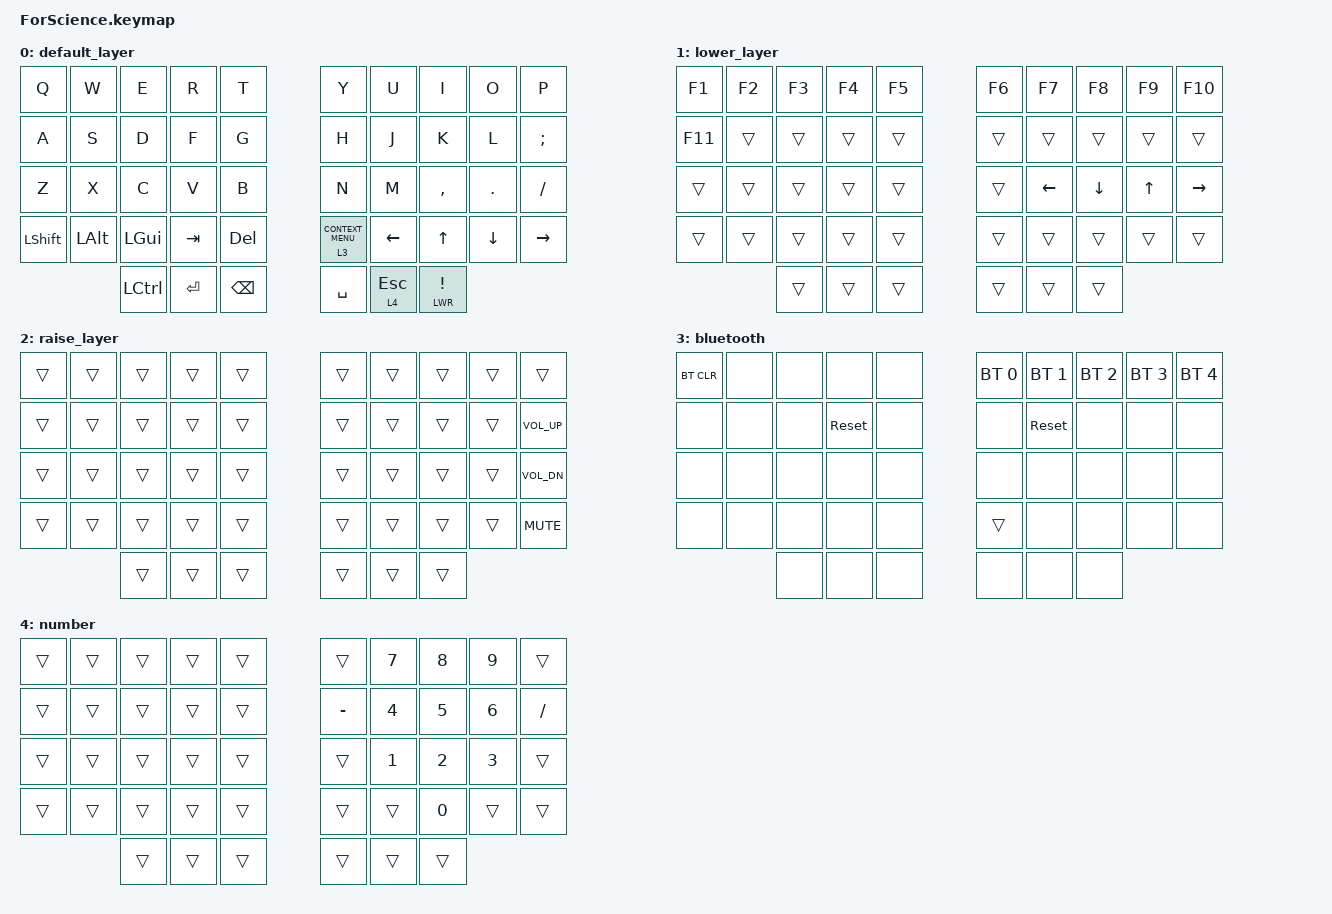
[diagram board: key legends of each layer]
// Copyright (c) 2022 The ZMK Contributors
// SPDX-License-Identifier: MIT

#include <behaviors.dtsi>
#include <dt-bindings/zmk/bt.h>
#include <dt-bindings/zmk/keys.h>
#include <dt-bindings/zmk/outputs.h>
#include <dt-bindings/zmk/pointing.h>
#include <dt-bindings/zmk/mouse.h>

#define ZMK_POINTING_DEFAULT_MOVE_VAL 1100  // default: 600
#define ZMK_POINTING_DEFAULT_SCRL_VAL 15    // default: 10

&msc {
    x-input-code = <INPUT_REL_HWHEEL>;
    y-input-code = <INPUT_REL_WHEEL>;
    time-to-max-speed-ms = <100>;
    acceleration-exponent = <3>;
};

&mmv {
    x-input-code = <INPUT_REL_X>;
    y-input-code = <INPUT_REL_Y>;
    time-to-max-speed-ms = <300>;
    acceleration-exponent = <1>;
};

&lt { tapping-term-ms = <170>; };

/ {
    macros {
        norsk_AO: norsk_AO {
            compatible = "zmk,behavior-macro";
            #binding-cells = <0>;
            bindings =
                <&macro_press>,
                <&kp LEFT_ALT>,
                <&macro_tap>,
                <&kp KP_NUMBER_0 &kp KP_NUMBER_2 &kp KP_NUMBER_2 &kp KP_NUMBER_9>,
                <&macro_release>,
                <&kp LEFT_ALT>;

            label = "NORSK_AO";
        };

        norsk_AO_cap: norsk_AO_cap {
            compatible = "zmk,behavior-macro";
            #binding-cells = <0>;
            bindings =
                <&macro_press>,
                <&kp LEFT_ALT>,
                <&macro_tap>,
                <&kp KP_NUMBER_0 &kp KP_NUMBER_1 &kp KP_NUMBER_9 &kp KP_NUMBER_7>,
                <&macro_release>,
                <&kp LEFT_ALT>;

            label = "NORSK_AO_CAP";
        };

        delete_line: delete_line {
            compatible = "zmk,behavior-macro";
            #binding-cells = <0>;
            bindings = <&kp END &kp LS(HOME) &kp BACKSPACE>;
            label = "DELETE_LINE";
        };

        norsk_AE: norsk_AE {
            compatible = "zmk,behavior-macro";
            #binding-cells = <0>;
            bindings =
                <&macro_press>,
                <&kp LEFT_ALT>,
                <&macro_tap>,
                <&kp KP_NUMBER_0 &kp KP_NUMBER_2 &kp KP_NUMBER_3 &kp KP_NUMBER_0>,
                <&macro_release>,
                <&kp LEFT_ALT>;

            label = "NORSK_AE";
        };

        norsk_AE_CAP: norsk_AE_CAP {
            compatible = "zmk,behavior-macro";
            #binding-cells = <0>;
            bindings =
                <&macro_press>,
                <&kp LEFT_ALT>,
                <&macro_tap>,
                <&kp KP_NUMBER_0 &kp KP_NUMBER_1 &kp KP_NUMBER_9 &kp KP_NUMBER_8>,
                <&macro_release>,
                <&kp LEFT_ALT>;

            label = "NORSK_AE_CAP";
        };

        norsk_OE: norsk_OE {
            compatible = "zmk,behavior-macro";
            #binding-cells = <0>;
            bindings =
                <&macro_press>,
                <&kp LEFT_ALT>,
                <&macro_tap>,
                <&kp KP_NUMBER_0 &kp KP_NUMBER_2 &kp KP_NUMBER_4 &kp KP_NUMBER_8>,
                <&macro_release>,
                <&kp LEFT_ALT>;

            label = "NORSK_OE";
        };

        norsk_OE_CAP: norsk_OE_CAP {
            compatible = "zmk,behavior-macro";
            #binding-cells = <0>;
            bindings =
                <&macro_press>,
                <&kp LEFT_ALT>,
                <&macro_tap>,
                <&kp KP_NUMBER_0 &kp KP_NUMBER_2 &kp KP_NUMBER_1 &kp KP_NUMBER_6>,
                <&macro_release>,
                <&kp LEFT_ALT>;

            label = "NORSK_OE_CAP";
        };

        degree: degree {
            compatible = "zmk,behavior-macro";
            #binding-cells = <0>;
            bindings =
                <&macro_press>,
                <&kp LEFT_ALT>,
                <&macro_tap>,
                <&kp KP_NUMBER_0 &kp KP_NUMBER_1 &kp KP_NUMBER_7 &kp KP_NUMBER_6>,
                <&macro_release>,
                <&kp LEFT_ALT>;

            label = "DEGREE";
        };

        par_mid: par_mid {
            compatible = "zmk,behavior-macro";
            #binding-cells = <0>;
            bindings = <&kp LEFT_PARENTHESIS &kp RIGHT_PARENTHESIS &kp LEFT>;
            label = "PAR_MID";
        };

        brk_mid: brk_mid {
            compatible = "zmk,behavior-macro";
            #binding-cells = <0>;
            bindings = <&kp LEFT_BRACKET &kp RIGHT_BRACKET &kp LEFT>;
            label = "BRK_MID";
        };

        brc_mid: brc_mid {
            compatible = "zmk,behavior-macro";
            #binding-cells = <0>;
            bindings = <&kp LEFT_BRACE &kp RIGHT_BRACE &kp LEFT>;
            label = "BRC_MID";
        };

        email: email {
            compatible = "zmk,behavior-macro";
            #binding-cells = <0>;
            bindings = <&kp I &kp Z &kp W &kp A &kp N &kp DOT &kp P &kp E &kp N &kp G &kp AT &kp G &kp M &kp A &kp I &kp L &kp DOT &kp C &kp O &kp M>;
            label = "EMAIL";
        };

        IKM_ADMIN: IKM_ADMIN {
            compatible = "zmk,behavior-macro";
            #binding-cells = <0>;
            bindings =
                <&macro_tap>,
                <&kp DOT &kp BSLH &kp A &kp D &kp M &kp I &kp N &kp I &kp S &kp T &kp R &kp A &kp T &kp O &kp R &kp TAB>;

            label = "IKM_ADMIN";
        };

        IKM_PC: IKM_PC {
            compatible = "zmk,behavior-macro";
            #binding-cells = <0>;
            bindings =
                <&macro_tap>,
                <&kp RIGHT &kp RIGHT &kp RIGHT &kp RIGHT &kp RIGHT &kp RIGHT &kp RIGHT &kp RIGHT &kp LS(A) &kp D &kp A &kp M &kp A &kp Y &kp A &kp M &kp LEFT_BRACE &kp N2 &kp N1 &kp N2 &kp N2 &kp RBRC &kp EXCL>;

            label = "IKM_PC";
        };

        INS_FIG: INS_FIG {
            compatible = "zmk,behavior-macro";
            #binding-cells = <0>;
            wait-ms = <150>;
            tap-ms = <150>;
            bindings =
                <&kp LC(LA(R))>,
                <&macro_wait_time 200>,
                <&kp F>,
                <&macro_wait_time 50>,
                <&kp I>,
                <&macro_wait_time 50>,
                <&kp G>,
                <&macro_wait_time 50>,
                <&kp TAB>,
                <&macro_wait_time 300>,
                <&kp DOWN>,
                <&macro_wait_time 150>,
                <&kp DOWN_ARROW>,
                <&macro_wait_time 150>,
                <&kp TAB &kp TAB>;

            label = "INS_FIG";
        };

        INS_TAB: INS_TAB {
            compatible = "zmk,behavior-macro";
            #binding-cells = <0>;
            wait-ms = <150>;
            tap-ms = <150>;
            bindings =
                <&kp LC(LA(R))>,
                <&macro_wait_time 200>,
                <&kp T>,
                <&macro_wait_time 50>,
                <&kp A>,
                <&macro_wait_time 50>,
                <&kp B>,
                <&macro_wait_time 50>,
                <&kp TAB>,
                <&macro_wait_time 300>,
                <&kp DOWN>,
                <&macro_wait_time 150>,
                <&kp DOWN_ARROW>,
                <&macro_wait_time 150>,
                <&kp TAB &kp TAB>;

            label = "INS_TAB";
        };

        INS_REF: INS_REF {
            compatible = "zmk,behavior-macro";
            #binding-cells = <0>;
            wait-ms = <150>;
            tap-ms = <150>;
            bindings =
                <&kp LC(LA(R))>,
                <&macro_wait_time 200>,
                <&kp N>,
                <&macro_wait_time 50>,
                <&kp U>,
                <&macro_wait_time 50>,
                <&kp M>,
                <&macro_wait_time 50>,
                <&kp TAB>,
                <&macro_wait_time 300>,
                <&kp DOWN>,
                <&macro_wait_time 150>,
                <&kp DOWN_ARROW>,
                <&macro_wait_time 150>,
                <&kp DOWN_ARROW>,
                <&macro_wait_time 150>,
                <&kp TAB &kp TAB &kp TAB>;

            label = "INS_REF";
        };

        INS_CAP: INS_CAP {
            compatible = "zmk,behavior-macro";
            #binding-cells = <0>;
            bindings = <&kp LEFT_ALT &kp S &kp P>;
            label = "INS_CAP";
            wait-ms = <150>;
        };

        NOR_ID: NOR_ID {
            compatible = "zmk,behavior-macro";
            #binding-cells = <0>;
            bindings = <&none &kp N0 &kp N1 &kp N0 &kp N9 &kp N9 &kp N3 &kp N2 &kp N3 &kp N7 &kp N2 &kp N4>;
            label = "NOR_ID";
        };

        INS_COL: INS_COL {
            compatible = "zmk,behavior-macro";
            #binding-cells = <0>;
            bindings =
                <&none &kp LC(SPACE)>,
                <&macro_wait_time 300>,
                <&kp LC(KP_PLUS)>;

            label = "INS_COL";
        };

        INS_ROW: INS_ROW {
            compatible = "zmk,behavior-macro";
            #binding-cells = <0>;
            bindings =
                <&none &kp LS(SPACE)>,
                <&macro_wait_time 300>,
                <&kp LC(KP_PLUS)>;

            label = "INS_ROW";
        };

        plusminus: plusminus {
            compatible = "zmk,behavior-macro";
            #binding-cells = <0>;
            bindings =
                <&macro_press>,
                <&kp LEFT_ALT>,
                <&macro_tap>,
                <&kp KP_NUMBER_0 &kp KP_NUMBER_1 &kp KP_NUMBER_7 &kp KP_NUMBER_7>,
                <&macro_release>,
                <&kp LEFT_ALT>;

            label = "PLUSMINUS";
        };

        APDL_nodeNumber: APDL_nodeNumber {
            compatible = "zmk,behavior-macro";
            #binding-cells = <0>;
            bindings =
                <&macro_press>,
                <&kp LEFT_ALT>,
                <&macro_tap>,
                <&kp C>,
                <&macro_release>,
                <&kp LEFT_ALT>,
                <&macro_tap>,
                <&kp DOWN &kp DOWN &kp DOWN &kp ENTER &kp TAB &kp TAB &kp TAB &kp TAB &kp SPACE &kp ENTER>;

            label = "APDL_NODENUMBER";
            wait-ms = <200>;
        };

        INS_LINK: INS_LINK {
            compatible = "zmk,behavior-macro";
            #binding-cells = <0>;
            wait-ms = <150>;
            tap-ms = <150>;
            bindings =
                <&kp LEFT_ALT>,
                <&macro_wait_time 200>,
                <&kp N>,
                <&macro_wait_time 50>,
                <&kp I>,
                <&macro_wait_time 50>,
                <&kp I>;

            label = "INS_LINK";
        };

        ACROBAT_accept: ACROBAT_accept {
            compatible = "zmk,behavior-macro";
            #binding-cells = <0>;
            bindings = <&kp F13 &kp DOWN &kp DOWN &kp DOWN &kp RIGHT_ARROW &kp DOWN &kp ENTER>;
            label = "ACROBAT_ACCEPT";
            wait-ms = <200>;
        };

        ACROBAT_complete: ACROBAT_complete {
            compatible = "zmk,behavior-macro";
            #binding-cells = <0>;
            bindings = <&kp F13 &kp DOWN &kp DOWN &kp DOWN &kp RIGHT_ARROW &kp DOWN &kp DOWN_ARROW &kp DOWN &kp ENTER>;
            wait-ms = <200>;
        };

        WIN_new_txt: WIN_new_txt {
            compatible = "zmk,behavior-macro";
            #binding-cells = <0>;
            bindings = <&kp K_APP &kp W &kp T>;
            label = "WIN_NEW_TXT";
            wait-ms = <200>;
        };

        INS_HIGHLIGHT: INS_HIGHLIGHT {
            compatible = "zmk,behavior-macro";
            #binding-cells = <0>;
            wait-ms = <150>;
            tap-ms = <150>;
            bindings =
                <&kp LEFT_ALT>,
                <&macro_wait_time 150>,
                <&kp H>,
                <&macro_wait_time 150>,
                <&kp I>,
                <&macro_wait_time 150>,
                <&kp ENTER>;

            label = "INS_HIGHLIGHT";
        };

        sel_line: sel_line {
            compatible = "zmk,behavior-macro";
            #binding-cells = <0>;
            bindings = <&kp END &kp LS(HOME)>;
            label = "SEL_LINE";
        };

        SHAPR3D: SHAPR3D {
            compatible = "zmk,behavior-macro";
            #binding-cells = <0>;
            bindings =
                <&kp E &kp Z &kp L &kp A &kp N &kp D &kp DOT &kp S &kp H &kp A &kp P &kp R &kp N3 &kp D &kp AT &kp G &kp M &kp A &kp I &kp L &kp DOT &kp C &kp O &kp M &kp TAB &kp LS(L) &kp O &kp G &kp O &kp U &kp T>,
                <&macro_wait_time 100>,
                <&macro_tap>,
                <&kp N2 &kp N0 &kp N2 &kp N3 &kp N2 &kp N0>;

            label = "SHAPR3D";
            wait-ms = <100>;
        };

        define_method: define_method {
            compatible = "zmk,behavior-macro";
            #binding-cells = <0>;
            bindings =
                <&kp D &kp E &kp F &kp SPACE &kp UNDER &kp M &kp E &kp T &kp H &kp O &kp D &kp SPACE &kp LPAR &kp S &kp E &kp L &kp F &kp RPAR &kp COLON &kp RET>,
                <&macro_tap>,
                <&kp DQT &kp DQT &kp DQT &kp RET>,
                <&macro_tap>,
                <&kp D &kp O &kp C &kp S &kp T &kp R &kp I &kp N &kp G &kp RET>,
                <&macro_tap>,
                <&kp DQT &kp DQT &kp DQT &kp RET>,
                <&macro_tap>,
                <&kp R &kp E &kp T &kp U &kp R &kp N &kp SPACE &kp LPAR &kp S &kp E &kp L &kp F &kp RPAR>,
                <&macro_press>,
                <&macro_press>;

            label = "DEFINE_METHOD";
        };

        select_word: select_word {
            compatible = "zmk,behavior-macro";
            #binding-cells = <0>;
            bindings = <&macro_tap>, <&kp LC(RIGHT) &kp LC(LS(LEFT))>;

            label = "SELECT_WORD";
        };

        merge_cell_words: merge_cell_words {
            compatible = "zmk,behavior-macro";
            #binding-cells = <0>;
            bindings =
                <&kp K_APP>,
                <&macro_wait_time 150>,
                <&macro_tap>,
                <&kp M &kp ENTER>;

            label = "MERGE_CELL_WORDS";
        };

        sigma_stress: sigma_stress {
            compatible = "zmk,behavior-macro";
            #binding-cells = <0>;
            bindings =
                <&macro_press>,
                <&kp LEFT_ALT>,
                <&macro_tap>,
                <&kp KP_NUMBER_0 &kp KP_NUMBER_1 &kp KP_NUMBER_1 &kp KP_NUMBER_5>,
                <&macro_release>,
                <&kp LEFT_ALT>;

            label = "SIGMA_STRESS";
        };

        INS_FONTCOLOR: INS_FONTCOLOR {
            compatible = "zmk,behavior-macro";
            #binding-cells = <0>;
            wait-ms = <150>;
            tap-ms = <150>;
            bindings =
                <&kp LEFT_ALT>,
                <&macro_wait_time 150>,
                <&kp H>,
                <&macro_wait_time 150>,
                <&kp F>,
                <&macro_wait_time 150>,
                <&kp C>,
                <&macro_wait_time 150>,
                <&kp DOWN &kp DOWN &kp DOWN &kp LEFT &kp LEFT &kp LEFT &kp LEFT>;

            label = "INS_FONTCOLOR";
        };

        PPT_bring_front: PPT_bring_front {
            compatible = "zmk,behavior-macro";
            #binding-cells = <0>;
            bindings = <&kp K_APP &kp R &kp RIGHT &kp R>;
            label = "PPT_BRING_FRONT";
            wait-ms = <200>;
        };

        EXCEL_resize_column: EXCEL_resize_column {
            compatible = "zmk,behavior-macro";
            #binding-cells = <0>;
            wait-ms = <150>;
            tap-ms = <150>;
            bindings =
                <&kp LEFT_ALT>,
                <&macro_wait_time 150>,
                <&kp H>,
                <&macro_wait_time 150>,
                <&kp O>,
                <&macro_wait_time 150>,
                <&kp I>;

            label = "EXCEL_RESIZE_COLUMN";
        };

        exit_cmd: exit_cmd {
            compatible = "zmk,behavior-macro";
            #binding-cells = <0>;
            bindings =
                <&kp E &kp X &kp I &kp T>,
                <&macro_wait_time 180>,
                <&kp RET>;

            label = "EXIT_CMD";
        };

        NDIST: NDIST {
            compatible = "zmk,behavior-macro";
            #binding-cells = <0>;
            bindings = <&kp N &kp D &kp I &kp S &kp T &kp COMMA>;
            label = "NDIST";
            tap-ms = <50>;
        };

        S7_adobe_accept: S7_adobe_accept {
            compatible = "zmk,behavior-macro";
            #binding-cells = <0>;
            bindings =
                <&mkp MB2>,
                <&macro_wait_time 200>,
                <&kp E>,
                <&macro_wait_time 200>,
                <&kp A>;

            label = "S7_ADOBE_ACCEPT";
        };

        S7_adobe_complete: S7_adobe_complete {
            compatible = "zmk,behavior-macro";
            #binding-cells = <0>;
            bindings =
                <&mkp MB2>,
                <&macro_wait_time 200>,
                <&kp E>,
                <&macro_wait_time 200>,
                <&kp M>;

            label = "S7_ADOBE_COMPLETE";
        };

        EXCEL_trace_dependant: EXCEL_trace_dependant {
            compatible = "zmk,behavior-macro";
            #binding-cells = <0>;
            wait-ms = <150>;
            tap-ms = <150>;
            bindings =
                <&kp LEFT_ALT>,
                <&macro_wait_time 150>,
                <&kp A &kp H>,
                <&macro_wait_time 150>,
                <&kp M>,
                <&macro_wait_time 150>,
                <&kp D>;

            label = "EXCEL_TRACE_DEPENDANT";
        };

        EXCEL_remove_arrow: EXCEL_remove_arrow {
            compatible = "zmk,behavior-macro";
            #binding-cells = <0>;
            wait-ms = <150>;
            tap-ms = <150>;
            bindings =
                <&kp LEFT_ALT>,
                <&macro_wait_time 150>,
                <&kp A &kp H>,
                <&macro_wait_time 150>,
                <&kp M>,
                <&macro_wait_time 150>,
                <&kp A>;

            label = "EXCEL_REMOVE_ARROW";
        };
    };

    behaviors {
        caps_esc: caps_esc {
            compatible = "zmk,behavior-tap-dance";
            label = "CAPS_ESC";
            #binding-cells = <0>;
            bindings = <&kp ESCAPE>, <&kp CAPS>;

            tapping-term-ms = <300>;
        };

        ht_tap: HT_TAP {
            compatible = "zmk,behavior-hold-tap";
            label = "HT_TAP";
            bindings = <&kp>, <&kp>;

            #binding-cells = <2>;
            tapping-term-ms = <160>;
            flavor = "hold-preferred";
        };

        AO: AO {
            compatible = "zmk,behavior-tap-dance";
            label = "AO";
            #binding-cells = <0>;
            bindings = <&norsk_AO>, <&norsk_AO_cap>;

            tapping-term-ms = <300>;
        };

        QUOT_DQUO: QUOT_DQUO {
            compatible = "zmk,behavior-tap-dance";
            label = "QUOT_DQUO";
            #binding-cells = <0>;
            bindings = <&kp SINGLE_QUOTE>, <&kp DOUBLE_QUOTES>;

            tapping-term-ms = <300>;
        };

        AE: AE {
            compatible = "zmk,behavior-tap-dance";
            label = "AE";
            #binding-cells = <0>;
            bindings = <&norsk_AE>, <&norsk_AE_CAP>;

            tapping-term-ms = <300>;
        };

        OE: OE {
            compatible = "zmk,behavior-tap-dance";
            label = "OE";
            #binding-cells = <0>;
            bindings = <&norsk_OE>, <&norsk_OE_CAP>;

            tapping-term-ms = <300>;
        };

        SHFT_SPC: SHFT_SPC {
            compatible = "zmk,behavior-hold-tap";
            label = "SHFT_SPC";
            bindings = <&kp>, <&kp>;

            #binding-cells = <2>;
            tapping-term-ms = <100>;
            hold-trigger-key-positions = <32>;
        };

        UND_MINS: UND_MINS {
            compatible = "zmk,behavior-tap-dance";
            label = "UND_MINS";
            #binding-cells = <0>;
            bindings = <&kp MINUS>, <&kp UNDER>;

            tapping-term-ms = <300>;
        };

        AMP_CURL: AMP_CURL {
            compatible = "zmk,behavior-tap-dance";
            label = "AMP_CURL";
            #binding-cells = <0>;
            bindings = <&kp AMPERSAND>, <&kp TILDE>;

            tapping-term-ms = <300>;
        };

        SUB_SUP: SUB_SUP {
            compatible = "zmk,behavior-tap-dance";
            label = "SUB_SUP";
            #binding-cells = <0>;
            tapping-term-ms = <300>;
            bindings = <&kp LC(LS(EQUAL))>, <&kp LC(LS(MINUS))>;
        };

        EXC_G: EXC_G {
            compatible = "zmk,behavior-tap-dance";
            label = "EXC_G";
            #binding-cells = <0>;
            bindings = <&kp G>, <&kp EXCLAMATION>;

            tapping-term-ms = <200>;
        };

        QUE_J: QUE_J {
            compatible = "zmk,behavior-tap-dance";
            label = "QUE_J";
            #binding-cells = <0>;
            bindings = <&kp J>, <&kp QUESTION>;

            tapping-term-ms = <165>;
        };

        ht_hold: ht_hold {
            compatible = "zmk,behavior-hold-tap";
            label = "HT_HOLD";
            bindings = <&kp>, <&kp>;

            #binding-cells = <2>;
            tapping-term-ms = <180>;
            flavor = "hold-preferred";
            quick-tap-ms = <150>;
            require-prior-idle-ms = <100>;
        };

        B_USB: B_USB {
            compatible = "zmk,behavior-tap-dance";
            label = "B_USB";
            #binding-cells = <0>;
            bindings = <&kp B>, <&out OUT_USB>;

            tapping-term-ms = <165>;
        };

        layer_tap: layer_tap {
            compatible = "zmk,behavior-hold-tap";
            label = "LAYER_TAP";
            bindings = <&mo>, <&kp>;

            #binding-cells = <2>;
            tapping-term-ms = <220>;
            flavor = "tap-preferred";
            quick-tap-ms = <150>;
            require-prior-idle-ms = <100>;
        };

        V_BLE: V_BLE {
            compatible = "zmk,behavior-tap-dance";
            label = "V_BLE";
            #binding-cells = <0>;
            bindings = <&kp V>, <&out OUT_USB>;

            tapping-term-ms = <165>;
        };

        non_breaking: non_breaking {
            compatible = "zmk,behavior-tap-dance";
            label = "NON_BREAKING";
            #binding-cells = <0>;
            bindings = <&kp LS(LC(SPACE))>, <&kp LS(LC(KP_SUBTRACT))>;

            tapping-term-ms = <300>;
        };

        CTRL_at: CTRL_at {
            compatible = "zmk,behavior-hold-tap";
            label = "CTRL_AT";
            bindings = <&kp>, <&kp>;

            #binding-cells = <2>;
            tapping-term-ms = <150>;
        };

        SHFT_ID: SHFT_ID {
            compatible = "zmk,behavior-hold-tap";
            label = "SHFT_ID";
            bindings = <&kp>, <&NOR_ID>;

            #binding-cells = <2>;
            tapping-term-ms = <150>;
        };

        cap_I: cap_I {
            compatible = "zmk,behavior-tap-dance";
            label = "CAP_I";
            #binding-cells = <0>;
            bindings = <&kp I>, <&kp LS(I)>;

            tapping-term-ms = <200>;
        };

        DOT_COMM: DOT_COMM {
            compatible = "zmk,behavior-tap-dance";
            label = "DOT_COMM";
            #binding-cells = <0>;
            tapping-term-ms = <180>;
            bindings = <&kp DOT>, <&kp COMMA>;
        };
    };

    combos {
        compatible = "zmk,combos";

        VSC_duplicate {
            bindings = <&kp LA(LS(DOWN_ARROW))>;
            key-positions = <1 2>;
            layers = <0>;
        };

        RIGHT_ENT {
            bindings = <&kp ENTER>;
            key-positions = <27 28>;
            layers = <0 2>;
        };

        delete_line_combo {
            bindings = <&delete_line>;
            key-positions = <30 31>;
            layers = <0>;
        };

        bootloader_left {
            bindings = <&bootloader>;
            key-positions = <4 14 24>;
            layers = <0>;
        };

        QUES {
            bindings = <&kp QUESTION>;
            key-positions = <15 16>;
            layers = <0>;
        };

        EXCLAM {
            bindings = <&kp EXCLAMATION>;
            key-positions = <14 13>;
            layers = <0>;
        };

        NPP_hideline {
            bindings = <&kp LA(H)>;
            key-positions = <1 0>;
        };

        NE_mins {
            bindings = <&kp MINUS>;
            key-positions = <16 17>;
            layers = <0>;
        };

        EI_unds {
            bindings = <&kp UNDER>;
            key-positions = <17 18>;
            layers = <0>;
        };

        VB_OF-hide {
            bindings = <&kp LC(H)>;
            key-positions = <23 24>;
            layers = <0>;
        };

        PG_OF-elevation {
            bindings = <&kp LC(E)>;
            key-positions = <4 3>;
            layers = <0>;
        };

        duplicateLine {
            bindings = <&kp LC(LA(UP_ARROW))>;
            key-positions = <0 4>;
            layers = <0>;
        };

        UY_dquo {
            bindings = <&kp KP_PLUS>;
            key-positions = <7 6>;
            layers = <0>;
        };

        UY_equal {
            bindings = <&kp EQUAL>;
            key-positions = <7 8>;
            layers = <0>;
        };

        R_thumb_date {
            bindings = <&kp F5>;
            key-positions = <33 25>;
            layers = <0>;
        };

        L_thumb_GUI {
            bindings = <&kp LEFT_GUI>;
            key-positions = <24 30>;
            layers = <0>;
        };

        RESET {
            bindings = <&bootloader>;
            key-positions = <4 14 24 31>;
            layers = <0>;
        };

        SOFT_OFF {
            bindings = <&soft_off>;
            key-positions = <0 9>;
            layers = <0>;
        };

        Right_E {
            bindings = <&kp E>;
            key-positions = <3 2>;
            layers = <0>;
        };

        VSC_comment {
            bindings = <&kp LC(SLASH)>;
            key-positions = <11 12>;
            layers = <0>;
            timeout-ms = <100>;
        };

        LOCK_WINDOW {
            bindings = <&kp LG(L)>;
            key-positions = <19 29>;
        };

        CTRL_ALT {
            bindings = <&kp LC(LEFT_ALT)>;
            key-positions = <21 22>;
        };

        VSC_execute {
            bindings = <&kp LA(ENTER)>;
            key-positions = <26 27>;
        };
    };

    keymap {
        compatible = "zmk,keymap";

        default_layer {
            bindings = <
&kp Q           &kp W         &kp E         &kp R      &kp T          &kp Y                 &kp U           &kp I         &kp O     &kp P
&kp A           &kp S         &kp D         &kp F      &kp G          &kp H                 &kp J           &kp K         &kp L     &kp SEMI
&kp Z           &kp X         &kp C         &kp V      &kp B          &kp N                 &kp M           &kp COMMA     &kp DOT   &kp SLASH
&kp LEFT_SHIFT  &kp LEFT_ALT  &kp LEFT_GUI  &kp TAB    &kp DELETE     &lt 3 K_CONTEXT_MENU  &kp LEFT_ARROW  &kp UP_ARROW  &kp DOWN  &kp RIGHT
                              &kp LCTRL     &kp ENTER  &kp BACKSPACE  &kp SPACE             &lt 4 ESCAPE    &lt LWR EXCL
            >;
        };

        lower_layer {
            bindings = <
&kp F1   &kp F2  &kp F3  &kp F4  &kp F5  &kp F6  &kp F7    &kp F8    &kp F9  &kp F10
&kp F11  &trans  &trans  &trans  &trans  &trans  &trans    &trans    &trans  &trans
&trans   &trans  &trans  &trans  &trans  &trans  &kp LEFT  &kp DOWN  &kp UP  &kp RIGHT
&trans   &trans  &trans  &trans  &trans  &trans  &trans    &trans    &trans  &trans
                 &trans  &trans  &trans  &trans  &trans    &trans
            >;
        };

        raise_layer {
            bindings = <
&trans  &trans  &trans  &trans  &trans  &trans  &trans  &trans  &trans  &trans
&trans  &trans  &trans  &trans  &trans  &trans  &trans  &trans  &trans  &kp K_VOL_UP
&trans  &trans  &trans  &trans  &trans  &trans  &trans  &trans  &trans  &kp K_VOL_DN
&trans  &trans  &trans  &trans  &trans  &trans  &trans  &trans  &trans  &kp K_MUTE
                &trans  &trans  &trans  &trans  &trans  &trans
            >;
        };

        bluetooth {
            bindings = <
&bt BT_CLR  &none  &none  &none       &none  &bt BT_SEL 0  &bt BT_SEL 1  &bt BT_SEL 2  &bt BT_SEL 3  &bt BT_SEL 4
&none       &none  &none  &sys_reset  &none  &none         &sys_reset    &none         &none         &none
&none       &none  &none  &none       &none  &none         &none         &none         &none         &none
&none       &none  &none  &none       &none  &trans        &none         &none         &none         &none
                   &none  &none       &none  &none         &none         &none
            >;
        };

        number {
            bindings = <
&trans  &trans  &trans  &trans  &trans  &trans     &kp N7  &kp N8  &kp N9  &trans
&trans  &trans  &trans  &trans  &trans  &kp MINUS  &kp N4  &kp N5  &kp N6  &kp FSLH
&trans  &trans  &trans  &trans  &trans  &trans     &kp N1  &kp N2  &kp N3  &trans
&trans  &trans  &trans  &trans  &trans  &trans     &trans  &kp N0  &trans  &trans
                &trans  &trans  &trans  &trans     &trans  &trans
            >;
        };
    };

    conditional_layers { compatible = "zmk,conditional-layers"; };
};
